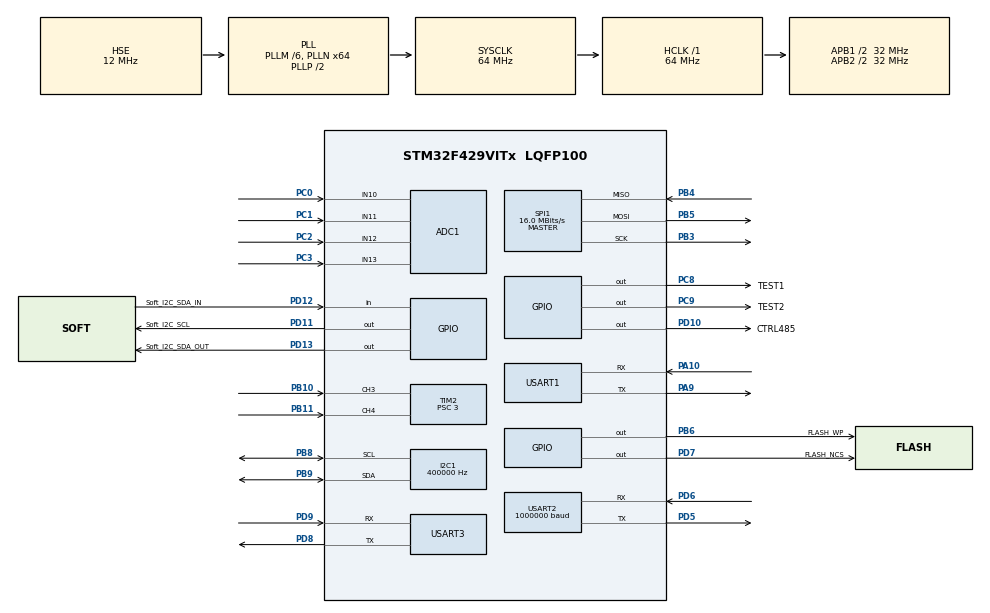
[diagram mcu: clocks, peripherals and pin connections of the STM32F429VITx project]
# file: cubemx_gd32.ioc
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ADC1.Channel-0\#ChannelRegularConversion=ADC_CHANNEL_10
ADC1.Channel-1\#ChannelRegularConversion=ADC_CHANNEL_11
ADC1.Channel-2\#ChannelRegularConversion=ADC_CHANNEL_12
ADC1.Channel-3\#ChannelRegularConversion=ADC_CHANNEL_13
ADC1.Channel-4\#ChannelRegularConversion=ADC_CHANNEL_VREFINT
ADC1.ClockPrescaler=ADC_CLOCK_SYNC_PCLK_DIV8
ADC1.ContinuousConvMode=ENABLE
ADC1.DMAContinuousRequests=ENABLE
ADC1.EOCSelection=ADC_EOC_SEQ_CONV
ADC1.NbrOfConversion=5
ADC1.NbrOfConversionFlag=1
ADC1.Rank-0\#ChannelRegularConversion=1
ADC1.Rank-1\#ChannelRegularConversion=2
ADC1.Rank-2\#ChannelRegularConversion=3
ADC1.Rank-3\#ChannelRegularConversion=4
ADC1.Rank-4\#ChannelRegularConversion=5
ADC1.SamplingTime-0\#ChannelRegularConversion=ADC_SAMPLETIME_56CYCLES
ADC1.SamplingTime-1\#ChannelRegularConversion=ADC_SAMPLETIME_56CYCLES
ADC1.SamplingTime-2\#ChannelRegularConversion=ADC_SAMPLETIME_56CYCLES
ADC1.SamplingTime-3\#ChannelRegularConversion=ADC_SAMPLETIME_56CYCLES
ADC1.SamplingTime-4\#ChannelRegularConversion=ADC_SAMPLETIME_56CYCLES
ADC1.ScanConvMode=ENABLE
ADC1.master=1
Dma.ADC1.0.Direction=DMA_PERIPH_TO_MEMORY
Dma.ADC1.0.FIFOMode=DMA_FIFOMODE_DISABLE
Dma.ADC1.0.Instance=DMA2_Stream4
Dma.ADC1.0.MemDataAlignment=DMA_MDATAALIGN_HALFWORD
Dma.ADC1.0.MemInc=DMA_MINC_ENABLE
Dma.ADC1.0.Mode=DMA_CIRCULAR
Dma.ADC1.0.PeriphDataAlignment=DMA_PDATAALIGN_HALFWORD
Dma.ADC1.0.PeriphInc=DMA_PINC_DISABLE
Dma.ADC1.0.Priority=DMA_PRIORITY_LOW
Dma.I2C1_RX.7.Direction=DMA_PERIPH_TO_MEMORY
Dma.I2C1_RX.7.FIFOMode=DMA_FIFOMODE_DISABLE
Dma.I2C1_RX.7.Instance=DMA1_Stream0
Dma.I2C1_RX.7.MemDataAlignment=DMA_MDATAALIGN_BYTE
Dma.I2C1_RX.7.MemInc=DMA_MINC_ENABLE
Dma.I2C1_RX.7.Mode=DMA_NORMAL
Dma.I2C1_RX.7.PeriphDataAlignment=DMA_PDATAALIGN_BYTE
Dma.I2C1_RX.7.PeriphInc=DMA_PINC_DISABLE
Dma.I2C1_RX.7.Priority=DMA_PRIORITY_LOW
Dma.I2C1_TX.8.Direction=DMA_MEMORY_TO_PERIPH
Dma.I2C1_TX.8.FIFOMode=DMA_FIFOMODE_DISABLE
Dma.I2C1_TX.8.Instance=DMA1_Stream7
Dma.I2C1_TX.8.MemDataAlignment=DMA_MDATAALIGN_BYTE
Dma.I2C1_TX.8.MemInc=DMA_MINC_ENABLE
Dma.I2C1_TX.8.Mode=DMA_NORMAL
Dma.I2C1_TX.8.PeriphDataAlignment=DMA_PDATAALIGN_BYTE
Dma.I2C1_TX.8.PeriphInc=DMA_PINC_DISABLE
Dma.I2C1_TX.8.Priority=DMA_PRIORITY_LOW
Dma.Request0=ADC1
Dma.Request1=USART2_RX
Dma.Request10=USART3_TX
Dma.Request2=USART2_TX
Dma.Request3=USART1_RX
Dma.Request4=USART1_TX
Dma.Request5=SPI1_RX
Dma.Request6=SPI1_TX
Dma.Request7=I2C1_RX
Dma.Request8=I2C1_TX
Dma.Request9=USART3_RX
Dma.SPI1_RX.5.Direction=DMA_PERIPH_TO_MEMORY
Dma.SPI1_RX.5.FIFOMode=DMA_FIFOMODE_DISABLE
Dma.SPI1_RX.5.Instance=DMA2_Stream0
Dma.SPI1_RX.5.MemDataAlignment=DMA_MDATAALIGN_BYTE
Dma.SPI1_RX.5.MemInc=DMA_MINC_ENABLE
Dma.SPI1_RX.5.Mode=DMA_NORMAL
Dma.SPI1_RX.5.PeriphDataAlignment=DMA_PDATAALIGN_BYTE
Dma.SPI1_RX.5.PeriphInc=DMA_PINC_DISABLE
Dma.SPI1_RX.5.Priority=DMA_PRIORITY_LOW
Dma.SPI1_TX.6.Direction=DMA_MEMORY_TO_PERIPH
Dma.SPI1_TX.6.FIFOMode=DMA_FIFOMODE_DISABLE
Dma.SPI1_TX.6.Instance=DMA2_Stream3
Dma.SPI1_TX.6.MemDataAlignment=DMA_MDATAALIGN_BYTE
Dma.SPI1_TX.6.MemInc=DMA_MINC_ENABLE
Dma.SPI1_TX.6.Mode=DMA_NORMAL
Dma.SPI1_TX.6.PeriphDataAlignment=DMA_PDATAALIGN_BYTE
Dma.SPI1_TX.6.PeriphInc=DMA_PINC_DISABLE
Dma.SPI1_TX.6.Priority=DMA_PRIORITY_LOW
Dma.USART1_RX.3.Direction=DMA_PERIPH_TO_MEMORY
Dma.USART1_RX.3.FIFOMode=DMA_FIFOMODE_DISABLE
Dma.USART1_RX.3.Instance=DMA2_Stream2
Dma.USART1_RX.3.MemDataAlignment=DMA_MDATAALIGN_BYTE
Dma.USART1_RX.3.MemInc=DMA_MINC_ENABLE
Dma.USART1_RX.3.Mode=DMA_NORMAL
Dma.USART1_RX.3.PeriphDataAlignment=DMA_PDATAALIGN_BYTE
Dma.USART1_RX.3.PeriphInc=DMA_PINC_DISABLE
Dma.USART1_RX.3.Priority=DMA_PRIORITY_LOW
Dma.USART1_TX.4.Direction=DMA_MEMORY_TO_PERIPH
Dma.USART1_TX.4.FIFOMode=DMA_FIFOMODE_DISABLE
Dma.USART1_TX.4.Instance=DMA2_Stream7
Dma.USART1_TX.4.MemDataAlignment=DMA_MDATAALIGN_BYTE
Dma.USART1_TX.4.MemInc=DMA_MINC_ENABLE
Dma.USART1_TX.4.Mode=DMA_NORMAL
Dma.USART1_TX.4.PeriphDataAlignment=DMA_PDATAALIGN_BYTE
Dma.USART1_TX.4.PeriphInc=DMA_PINC_DISABLE
Dma.USART1_TX.4.Priority=DMA_PRIORITY_LOW
Dma.USART2_RX.1.Direction=DMA_PERIPH_TO_MEMORY
Dma.USART2_RX.1.FIFOMode=DMA_FIFOMODE_DISABLE
Dma.USART2_RX.1.Instance=DMA1_Stream5
Dma.USART2_RX.1.MemDataAlignment=DMA_MDATAALIGN_BYTE
Dma.USART2_RX.1.MemInc=DMA_MINC_ENABLE
Dma.USART2_RX.1.Mode=DMA_NORMAL
Dma.USART2_RX.1.PeriphDataAlignment=DMA_PDATAALIGN_BYTE
Dma.USART2_RX.1.PeriphInc=DMA_PINC_DISABLE
Dma.USART2_RX.1.Priority=DMA_PRIORITY_LOW
Dma.USART2_TX.2.Direction=DMA_MEMORY_TO_PERIPH
Dma.USART2_TX.2.FIFOMode=DMA_FIFOMODE_DISABLE
Dma.USART2_TX.2.Instance=DMA1_Stream6
Dma.USART2_TX.2.MemDataAlignment=DMA_MDATAALIGN_BYTE
Dma.USART2_TX.2.MemInc=DMA_MINC_ENABLE
Dma.USART2_TX.2.Mode=DMA_NORMAL
Dma.USART2_TX.2.PeriphDataAlignment=DMA_PDATAALIGN_BYTE
Dma.USART2_TX.2.PeriphInc=DMA_PINC_DISABLE
Dma.USART2_TX.2.Priority=DMA_PRIORITY_LOW
Dma.USART3_RX.9.Direction=DMA_PERIPH_TO_MEMORY
Dma.USART3_RX.9.FIFOMode=DMA_FIFOMODE_DISABLE
Dma.USART3_RX.9.Instance=DMA1_Stream1
Dma.USART3_RX.9.MemDataAlignment=DMA_MDATAALIGN_BYTE
Dma.USART3_RX.9.MemInc=DMA_MINC_ENABLE
Dma.USART3_RX.9.Mode=DMA_NORMAL
Dma.USART3_RX.9.PeriphDataAlignment=DMA_PDATAALIGN_BYTE
Dma.USART3_RX.9.PeriphInc=DMA_PINC_DISABLE
Dma.USART3_RX.9.Priority=DMA_PRIORITY_LOW
Dma.USART3_TX.10.Direction=DMA_MEMORY_TO_PERIPH
Dma.USART3_TX.10.FIFOMode=DMA_FIFOMODE_DISABLE
Dma.USART3_TX.10.Instance=DMA1_Stream3
Dma.USART3_TX.10.MemDataAlignment=DMA_MDATAALIGN_BYTE
Dma.USART3_TX.10.MemInc=DMA_MINC_ENABLE
Dma.USART3_TX.10.Mode=DMA_NORMAL
Dma.USART3_TX.10.PeriphDataAlignment=DMA_PDATAALIGN_BYTE
Dma.USART3_TX.10.PeriphInc=DMA_PINC_DISABLE
Dma.USART3_TX.10.Priority=DMA_PRIORITY_LOW
I2C1.ClockSpeed=400000
I2C1.I2C_Mode=I2C_Fast
IWDG.Prescaler=IWDG_PRESCALER_64
IWDG.Reload=999
Mcu.Family=STM32F4
Mcu.Name=STM32F429VITx
Mcu.Package=LQFP100
NVIC.ADC_IRQn=true\:0\:0\:true\:false\:true\:true\:true\:true
NVIC.DMA1_Stream0_IRQn=true\:1\:0\:true\:false\:true\:false\:true\:true
NVIC.DMA1_Stream1_IRQn=true\:1\:0\:true\:false\:true\:false\:true\:true
NVIC.DMA1_Stream3_IRQn=true\:1\:0\:true\:false\:true\:false\:true\:true
NVIC.DMA1_Stream5_IRQn=true\:2\:0\:true\:false\:true\:false\:true\:true
NVIC.DMA1_Stream6_IRQn=true\:2\:0\:true\:false\:true\:false\:true\:true
NVIC.DMA1_Stream7_IRQn=true\:1\:0\:true\:false\:true\:false\:true\:true
NVIC.DMA2_Stream0_IRQn=true\:1\:0\:true\:false\:true\:false\:true\:true
NVIC.DMA2_Stream2_IRQn=true\:0\:0\:false\:false\:true\:false\:true\:true
NVIC.DMA2_Stream3_IRQn=true\:3\:0\:true\:false\:true\:false\:true\:true
NVIC.DMA2_Stream4_IRQn=true\:0\:0\:false\:false\:true\:false\:true\:true
NVIC.DMA2_Stream7_IRQn=true\:1\:0\:true\:false\:true\:false\:true\:true
NVIC.I2C1_ER_IRQn=true\:1\:0\:true\:false\:true\:true\:true\:true
NVIC.I2C1_EV_IRQn=true\:1\:0\:true\:false\:true\:true\:true\:true
NVIC.PriorityGroup=NVIC_PRIORITYGROUP_4
NVIC.SPI1_IRQn=true\:1\:0\:true\:false\:true\:true\:true\:true
NVIC.TIM1_BRK_TIM9_IRQn=true\:0\:0\:false\:false\:true\:true\:true\:true
NVIC.TIM1_TRG_COM_TIM11_IRQn=true\:0\:0\:false\:false\:true\:true\:true\:true
NVIC.TIM1_UP_TIM10_IRQn=true\:0\:0\:false\:false\:true\:true\:true\:true
NVIC.TIM2_IRQn=true\:0\:0\:false\:false\:true\:true\:true\:true
NVIC.TIM7_IRQn=true\:1\:0\:true\:false\:true\:true\:true\:true
NVIC.TIM8_TRG_COM_TIM14_IRQn=true\:1\:0\:true\:false\:true\:true\:true\:true
NVIC.TIM8_UP_TIM13_IRQn=true\:1\:0\:true\:false\:true\:true\:true\:true
NVIC.USART1_IRQn=true\:0\:0\:false\:false\:true\:true\:true\:true
NVIC.USART2_IRQn=true\:2\:0\:true\:false\:true\:true\:true\:true
NVIC.USART3_IRQn=true\:1\:0\:true\:false\:true\:true\:true\:true
PA10.Mode=Asynchronous
PA10.Signal=USART1_RX
PA13.Mode=Serial_Wire
PA13.Signal=SYS_JTMS-SWDIO
PA14.Mode=Serial_Wire
PA14.Signal=SYS_JTCK-SWCLK
PA9.Mode=Asynchronous
PA9.Signal=USART1_TX
PB10.Signal=S_TIM2_CH3
PB11.Signal=S_TIM2_CH4
PB3.Mode=Full_Duplex_Master
PB3.Signal=SPI1_SCK
PB4.Mode=Full_Duplex_Master
PB4.Signal=SPI1_MISO
PB5.Mode=Full_Duplex_Master
PB5.Signal=SPI1_MOSI
PB6.GPIO_Label=FLASH_WP
PB6.PinState=GPIO_PIN_SET
PB6.Signal=GPIO_Output
PB8.Mode=I2C
PB8.Signal=I2C1_SCL
PB9.Mode=I2C
PB9.Signal=I2C1_SDA
PC0.Signal=ADCx_IN10
PC1.Signal=ADCx_IN11
PC14/OSC32_IN.Mode=LSE-External-Oscillator
PC14/OSC32_IN.Signal=RCC_OSC32_IN
PC15/OSC32_OUT.Mode=LSE-External-Oscillator
PC15/OSC32_OUT.Signal=RCC_OSC32_OUT
PC2.Signal=ADCx_IN12
PC3.Signal=ADCx_IN13
PC8.GPIO_Label=TEST1
PC8.Signal=GPIO_Output
PC9.GPIO_Label=TEST2
PC9.Signal=GPIO_Output
PD10.GPIO_Label=CTRL485
PD10.Signal=GPIO_Output
PD11.GPIO_Label=Soft_I2C_SCL
PD11.GPIO_ModeDefaultOutputPP=GPIO_MODE_OUTPUT_OD
PD11.GPIO_PuPd=GPIO_NOPULL
PD11.GPIO_Speed=GPIO_SPEED_FREQ_HIGH
PD11.PinState=GPIO_PIN_RESET
PD11.Signal=GPIO_Output
PD12.GPIO_Label=Soft_I2C_SDA_IN
PD12.Signal=GPIO_Input
PD13.GPIO_Label=Soft_I2C_SDA_OUT
PD13.GPIO_ModeDefaultOutputPP=GPIO_MODE_OUTPUT_OD
PD13.GPIO_PuPd=GPIO_NOPULL
PD13.GPIO_Speed=GPIO_SPEED_FREQ_HIGH
PD13.Signal=GPIO_Output
PD5.Mode=Asynchronous
PD5.Signal=USART2_TX
PD6.Mode=Asynchronous
PD6.Signal=USART2_RX
PD7.GPIO_Label=FLASH_NCS
PD7.Signal=GPIO_Output
PD8.Mode=Asynchronous
PD8.Signal=USART3_TX
PD9.Mode=Asynchronous
PD9.Signal=USART3_RX
PH0/OSC_IN.Mode=HSE-External-Oscillator
PH0/OSC_IN.Signal=RCC_OSC_IN
PH1/OSC_OUT.Mode=HSE-External-Oscillator
PH1/OSC_OUT.Signal=RCC_OSC_OUT
ProjectManager.HeapSize=0x200
ProjectManager.StackSize=0x400
ProjectManager.TargetToolchain=Makefile
RCC.48MHZClocksFreq_Value=32000000
RCC.AHBFreq_Value=64000000
RCC.APB1CLKDivider=RCC_HCLK_DIV2
RCC.APB1Freq_Value=32000000
RCC.APB1TimFreq_Value=64000000
RCC.APB2CLKDivider=RCC_HCLK_DIV2
RCC.APB2Freq_Value=32000000
RCC.APB2TimFreq_Value=64000000
RCC.CortexFreq_Value=64000000
RCC.EnbaleCSS=true
RCC.HCLKFreq_Value=64000000
RCC.HSE_VALUE=12000000
RCC.HSI_VALUE=16000000
RCC.PLLM=6
RCC.PLLN=64
RCC.PLLSourceVirtual=RCC_PLLSOURCE_HSE
RCC.SYSCLKFreq_VALUE=64000000
RCC.SYSCLKSource=RCC_SYSCLKSOURCE_PLLCLK
RCC.VCOOutputFreq_Value=128000000
SH.ADCx_IN10.0=ADC1_IN10,IN10
SH.ADCx_IN11.0=ADC1_IN11,IN11
SH.ADCx_IN12.0=ADC1_IN12,IN12
SH.ADCx_IN13.0=ADC1_IN13,IN13
SH.S_TIM2_CH3.0=TIM2_CH3,Input_Capture3_from_TI3
SH.S_TIM2_CH4.0=TIM2_CH4,Input_Capture4_from_TI4
SPI1.CalculateBaudRate=16.0 MBits/s
SPI1.Direction=SPI_DIRECTION_2LINES
SPI1.Mode=SPI_MODE_MASTER
SPI1.VirtualType=VM_MASTER
TIM10.AutoReloadPreload=TIM_AUTORELOAD_PRELOAD_ENABLE
TIM10.Prescaler=6399
TIM11.AutoReloadPreload=TIM_AUTORELOAD_PRELOAD_ENABLE
TIM11.Period=9999
TIM11.Prescaler=6399
TIM13.AutoReloadPreload=TIM_AUTORELOAD_PRELOAD_ENABLE
TIM13.Period=9999
TIM13.Prescaler=6399
TIM14.AutoReloadPreload=TIM_AUTORELOAD_PRELOAD_ENABLE
TIM14.Period=9999
TIM14.Prescaler=6399
TIM2.Channel-Input_Capture3_from_TI3=TIM_CHANNEL_3
TIM2.Channel-Input_Capture4_from_TI4=TIM_CHANNEL_4
TIM2.ICFilter_CH3=12
TIM2.ICFilter_CH4=12
TIM2.Prescaler=3
TIM4.Prescaler=63
TIM7.AutoReloadPreload=TIM_AUTORELOAD_PRELOAD_ENABLE
TIM7.Period=9999
TIM7.Prescaler=6399
TIM9.Period=9999
TIM9.Prescaler=6399
USART1.VirtualMode=VM_ASYNC
USART2.BaudRate=1000000
USART2.VirtualMode=VM_ASYNC
USART3.VirtualMode=VM_ASYNC
VP_ADC1_Vref_Input.Mode=IN-Vrefint
VP_CRC_VS_CRC.Mode=CRC_Activate
VP_IWDG_VS_IWDG.Mode=IWDG_Activate
VP_TIM10_VS_ClockSourceINT.Mode=Enable_Timer
VP_TIM11_VS_ClockSourceINT.Mode=Enable_Timer
VP_TIM13_VS_ClockSourceINT.Mode=Enable_Timer
VP_TIM14_VS_ClockSourceINT.Mode=Enable_Timer
VP_TIM2_VS_ClockSourceINT.Mode=Internal
VP_TIM4_VS_ClockSourceINT.Mode=Internal
VP_TIM7_VS_ClockSourceINT.Mode=Enable_Timer
VP_TIM9_VS_ClockSourceINT.Mode=Internal
board=custom

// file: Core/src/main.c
/* USER CODE BEGIN Header */
/**
  ******************************************************************************
  * @file           : main.c
  * @brief          : Main program body
  ******************************************************************************
  * @attention
  *
  * Copyright (c) 2025 STMicroelectronics.
  * All rights reserved.
  *
  * This software is licensed under terms that can be found in the LICENSE file
  * in the root directory of this software component.
  * If no LICENSE file comes with this software, it is provided AS-IS.
  *
  ******************************************************************************
  */
/* USER CODE END Header */
#include "main.h"
#include "adc.h"
#include "crc.h"
#include "dma.h"
#include "i2c.h"
#include "iwdg.h"
#include "spi.h"
#include "tim.h"
#include "usart.h"
#include "gpio.h"

/* USER CODE BEGIN Includes */
#include "basic_driver.h"
#include "basic_test.h"
#include "zero_crossing.h"  // 过零检测模块
#include "adc_service.h"    // ADC采样服务模块（用于定时器回调）
#include "serial_bridge.h"  // 串口转发模块
/* USER CODE END Includes */

/* USER CODE BEGIN PV */
static volatile uint8_t adc_srv_calc_pending = 0;
static volatile uint8_t print_test_pending = 0;

/* Serial Bridge Instance */
// Config: Transparent bidirectional bridge between USART3 and USART1.
// Note: CTRL485 (PD10) is controlled by serial_bridge.c when USART3 transmits.
SerialBridge_t bridge_u3_to_u1;

/* USER CODE END PV */

void SystemClock_Config(void);

/* USER CODE BEGIN 0 */
/**
  ******************************************************************************
  *
  * 中断回调函数：表明各模块的连接/跳转逻辑
  *             1. TIMER
  *             2. ADC
  *             3. GPIO
  *             4. 通信
  *
  ******************************************************************************
*/

/* 1. TIMER的中断回调函数 -------------------------------------------------------*/
void HAL_TIM_PeriodElapsedCallback(TIM_HandleTypeDef *htim)
{
  if (htim->Instance == TIM7)
  {
    // 每秒置位打印标志，主循环中再执行实际串口输出
    print_test_pending = 1;
  }
  else if (htim->Instance == TIM10)
  {
    // 标记ADC服务需要在主循环中执行计算任务（每**ms触发一次）
    adc_srv_calc_pending = 1;
  }
  else if (htim->Instance == TIM13)
  {
    //
  }
  else if (htim->Instance == TIM14)
  {
    //
  }
}

/**
 * @brief  TIM输入捕获回调函数（HAL库标准回调）
 * @note   HAL_TIM_IRQHandler会自动调用此函数
 */
void HAL_TIM_IC_CaptureCallback(TIM_HandleTypeDef *htim)
{
  if (htim->Instance == TIM2)
  {
    // 调用过零检测模块的处理函数
    ZC_TIM_CaptureCallback(htim);
  }
}

/* 2. ADC的中断回调函数 --------------------------------------------------------*/

/**
 * @brief  ADC转换完成回调（HAL库自动调用）
 * @param  hadc: ADC句柄指针
 * @note   此回调在DMA中断上下文中执行
 */
void HAL_ADC_ConvCpltCallback(ADC_HandleTypeDef* hadc)
{
  if (hadc->Instance == ADC1) {
    // 调用ADC服务模块处理数据
    extern volatile uint16_t adc_dma_buffer[];
    ADC_SRV_DMA_ConvCpltCallback(hadc, adc_dma_buffer);
  }
}

/* 3. GPIO的中断回调函数 -------------------------------------------------------*/

// 重定义GPIO中断回调函数
void HAL_GPIO_EXTI_Callback(uint16_t GPIO_Pin)
{
  // if (GPIO_Pin == MAG_Pin)
  // {
  //   //
  // }
}

/* 4. 通信的中断回调函数 -------------------------------------------------------*/

// 串口发送完成的中断回调函数
void HAL_UART_TxCpltCallback(UART_HandleTypeDef *huart)
{
  SB_HandleTxCplt(&bridge_u3_to_u1, huart);

  if (huart->Instance == USART1)
  {
      // 处理USART1发送完成后的操作
  }
}

// 串口接收完成的中断回调函数
void HAL_UART_RxCpltCallback(UART_HandleTypeDef *huart)
{
    if (huart->Instance == USART1)
    {
        // 处理USART1接收到的数据
    }
}

void HAL_UARTEx_RxEventCallback(UART_HandleTypeDef *huart, uint16_t size)
{
  // Handle Serial Bridge Events
  // USART3 <-> USART1 transparent bridge
  SB_HandleRxEvent(&bridge_u3_to_u1, huart, size);
}

void HAL_UART_ErrorCallback(UART_HandleTypeDef *huart)
{
  SB_HandleError(&bridge_u3_to_u1, huart);
}
/* USER CODE END 0 */

int main(void)
{

  /* MCU Configuration--------------------------------------------------------*/

  /* Reset of all peripherals, Initializes the Flash interface and the Systick. */
  HAL_Init();

  /* Configure the system clock */
  SystemClock_Config();

  /* Initialize all configured peripherals */
  MX_GPIO_Init();
  MX_DMA_Init();
  MX_CRC_Init();
  MX_TIM7_Init();
  MX_TIM10_Init();
  MX_TIM11_Init();
  MX_TIM13_Init();
  MX_TIM14_Init();
  MX_USART1_UART_Init();
  MX_ADC1_Init();
  MX_USART2_UART_Init();
  MX_I2C1_Init();
  MX_SPI1_Init();
  MX_TIM2_Init();
  MX_USART3_UART_Init();
  MX_IWDG_Init();
  MX_TIM9_Init();
  MX_TIM4_Init();
  /* USER CODE BEGIN 2 */

  // 项目初始化（包含ADC服务、过零检测等所有模块）
  basic_init();

  /* USER CODE END 2 */

  /* Infinite loop */
  while (1)
  {

    /* USER CODE BEGIN 3 */
    HAL_IWDG_Refresh(&hiwdg);

    if (adc_srv_calc_pending != 0U)
    {
      adc_srv_calc_pending = 0U;
      ADC_SRV_CalculateTask();
    }

    if (print_test_pending != 0U)
    {
      print_test_pending = 0U;
      print_test_data();
    }
  }
  /* USER CODE END 3 */
}

void SystemClock_Config(void)
{
  RCC_OscInitTypeDef RCC_OscInitStruct = {0};
  RCC_ClkInitTypeDef RCC_ClkInitStruct = {0};

  /** Configure the main internal regulator output voltage
  */
  __HAL_RCC_PWR_CLK_ENABLE();
  __HAL_PWR_VOLTAGESCALING_CONFIG(PWR_REGULATOR_VOLTAGE_SCALE3);

  /** Initializes the RCC Oscillators according to the specified parameters
  * in the RCC_OscInitTypeDef structure.
  */
  RCC_OscInitStruct.OscillatorType = RCC_OSCILLATORTYPE_LSI|RCC_OSCILLATORTYPE_HSE;
  RCC_OscInitStruct.HSEState = RCC_HSE_ON;
  RCC_OscInitStruct.LSIState = RCC_LSI_ON;
  RCC_OscInitStruct.PLL.PLLState = RCC_PLL_ON;
  RCC_OscInitStruct.PLL.PLLSource = RCC_PLLSOURCE_HSE;
  RCC_OscInitStruct.PLL.PLLM = 6;
  RCC_OscInitStruct.PLL.PLLN = 64;
  RCC_OscInitStruct.PLL.PLLP = RCC_PLLP_DIV2;
  RCC_OscInitStruct.PLL.PLLQ = 4;
  if (HAL_RCC_OscConfig(&RCC_OscInitStruct) != HAL_OK)
  {
    Error_Handler();
  }

  /** Initializes the CPU, AHB and APB buses clocks
  */
  RCC_ClkInitStruct.ClockType = RCC_CLOCKTYPE_HCLK|RCC_CLOCKTYPE_SYSCLK
                              |RCC_CLOCKTYPE_PCLK1|RCC_CLOCKTYPE_PCLK2;
  RCC_ClkInitStruct.SYSCLKSource = RCC_SYSCLKSOURCE_PLLCLK;
  RCC_ClkInitStruct.AHBCLKDivider = RCC_SYSCLK_DIV1;
  RCC_ClkInitStruct.APB1CLKDivider = RCC_HCLK_DIV2;
  RCC_ClkInitStruct.APB2CLKDivider = RCC_HCLK_DIV2;

  if (HAL_RCC_ClockConfig(&RCC_ClkInitStruct, FLASH_LATENCY_2) != HAL_OK)
  {
    Error_Handler();
  }

  /** Enables the Clock Security System
  */
  HAL_RCC_EnableCSS();
}

void Error_Handler(void)
{
  __disable_irq();
  while (1)
  {
  }
}
